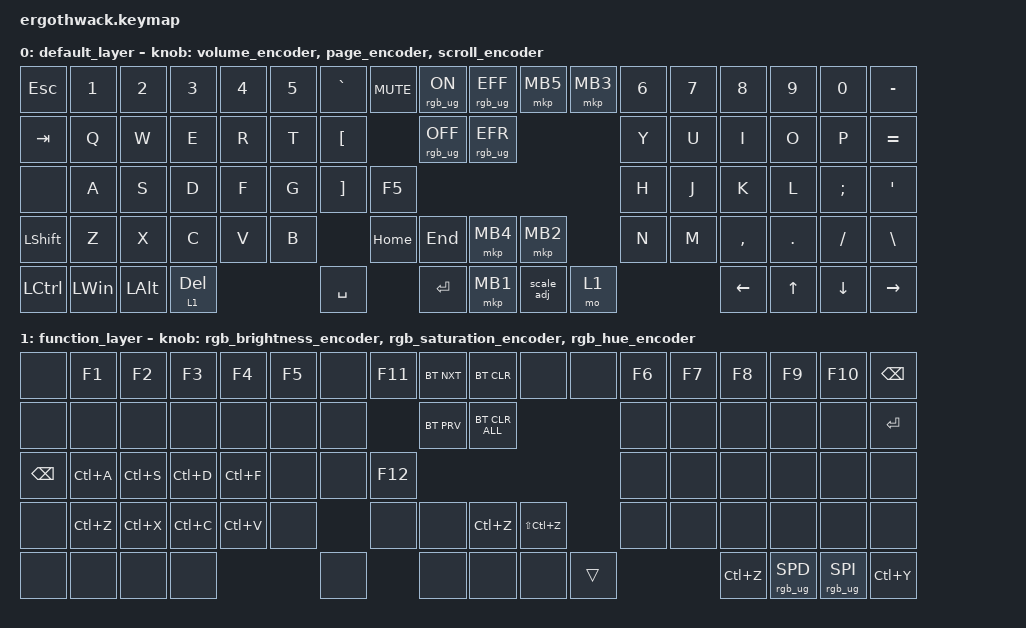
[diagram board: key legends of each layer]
#include <behaviors.dtsi>
#include <dt-bindings/zmk/keys.h>
#include <dt-bindings/zmk/mouse.h>
#include <dt-bindings/zmk/rgb.h>
#include <behaviors/mouse_keys.dtsi>
#include <dt-bindings/zmk/bt.h>
#include <dt-bindings/zmk/outputs.h>
#include <dt-bindings/zmk/ext_power.h>

#define ZMK_MOUSE_DEFAULT_SCRL_VAL 50 // 10

&msc {
    acceleration-exponent = <0>;      // 0
    time-to-max-speed-ms = <0>;       // 300
    delay-ms = <0>;                   // 0
};

&led_strip {
    chain-length = <42>;
};

/ {
    behaviors {
        rgb_brightness_encoder: rgb_brightness_encoder {
            compatible = "zmk,behavior-sensor-rotate";
            #sensor-binding-cells = <0>;
            bindings = <&rgb_ug RGB_BRD>, <&rgb_ug RGB_BRI>;
        };
        rgb_hue_encoder: rgb_hue_encoder {
            compatible = "zmk,behavior-sensor-rotate";
            #sensor-binding-cells = <0>;
            bindings = <&rgb_ug RGB_HUD>, <&rgb_ug RGB_HUI>;
        };
        rgb_saturation_encoder: rgb_saturation_encoder {
            compatible = "zmk,behavior-sensor-rotate";
            #sensor-binding-cells = <0>;
            bindings = <&rgb_ug RGB_SAD>, <&rgb_ug RGB_SAI>;
        };
        page_encoder: page_encoder {
            compatible = "zmk,behavior-sensor-rotate";
            #sensor-binding-cells = <0>;
            bindings = <&kp PG_UP>, <&kp PG_DN>;
        };
        volume_encoder: volume_encoder {
            compatible = "zmk,behavior-sensor-rotate";
            #sensor-binding-cells = <0>;
            bindings = <&kp C_VOL_DN>, <&kp C_VOL_UP>;
        };
        scroll_encoder: scroll_encoder {
            compatible = "zmk,behavior-sensor-rotate";
            #sensor-binding-cells = <0>;
            bindings = <&msc SCRL_UP>, <&msc SCRL_DOWN>;
            tap-ms = <50>;
        };
        scale_adj: scale_adj {
            compatible = "zmk,behavior-scale-adjuster";
            #binding-cells = <0>;
            temp_multiplier = <3>; /* Temporary scale multiplier */
            temp_divisor = <1>; /* Temporary scale divisor */
        };
    };
    
    keymap {
        compatible = "zmk,keymap";

        default_layer {
//|------SW0-------|------SW1-------|------SW2-------|------SW3-------|------SW4-------|------SW5-------|------SW6-------|((((((RE7)))))))|......TS15......|<>|......TS8.......|((((((RE0)))))))|------SW1-------|------SW2-------|------SW3-------|------SW4-------|------SW5-------|------SW6-------|------SW7-------|
//|------SW8-------|------SW9-------|------SW10------|------SW11------|------SW12------|------SW13------|------SW14------|                |......TS23......|<>|......TS15......|                                 |------SW9-------|------SW10------|------SW11------|------SW12------|------SW13------|------SW14------|
//|------SW16------|------SW17------|------SW18------|------SW19------|------SW20------|------SW21------|------SW22------|((((((RE31))))))|                 <>                                                   |------SW16------|------SW17------|------SW18------|------SW19------|------SW20------|------SW21------|
//|------SW24------|------SW25------|------SW26------|------SW27------|------SW28------|------SW29------|                |~~~~~~TH30~~~~~~|~~~~~~TH38~~~~~~|<>|~~~~~~TH22~~~~~~|~~~~~~TH23~~~~~~|                |------SW24------|------SW25------|------SW26------|------SW27------|------SW28------|------SW29------|
//|------SW32------|------SW33------|------SW34------|------SW35------|                                 |~~~~~~~~~~~~~~TH36~~~~~~~~~~~~~~~|~~~~~~TH37~~~~~~|<>|~~~~~~TH30~~~~~~|~~~~~~TH31~~~~~~|~~~~~~TH32~~~~~~|                                 |------SW33------|------SW34------|------SW35------|------SW36------|
            bindings = <
  &kp ESC          &kp N1           &kp N2           &kp N3           &kp N4           &kp N5           &kp GRAVE        &kp C_MUTE       &rgb_ug RGB_ON      &rgb_ug RGB_EFF  &mkp MB5         &mkp MB3         &kp N6           &kp N7           &kp N8           &kp N9           &kp N0           &kp MINUS
  &kp TAB          &kp Q            &kp W            &kp E            &kp R            &kp T            &kp LBKT                          &rgb_ug RGB_OFF     &rgb_ug RGB_EFR                                    &kp Y            &kp U            &kp I            &kp O            &kp P            &kp EQUAL
  &none            &kp A            &kp S            &kp D            &kp F            &kp G            &kp RBKT         &kp F5                                                                                  &kp H            &kp J            &kp K            &kp L            &kp SEMI         &kp APOS
  &kp LSHFT        &kp Z            &kp X            &kp C            &kp V            &kp B                             &kp HOME         &kp END             &mkp MB4         &mkp MB2                          &kp N            &kp M            &kp COMMA        &kp DOT          &kp FSLH         &kp BSLH
  &kp LCTRL        &kp LWIN         &kp LALT         &lt 1 DEL                                            &kp SPACE                         &kp RET             &mkp MB1         &scale_adj       &mo 1                                              &kp LEFT         &kp UP           &kp DOWN         &kp RIGHT
            >;

            sensor-bindings = <&volume_encoder &page_encoder &scroll_encoder>;
        };
        
        function_layer {
//|------SW0-------|------SW1-------|------SW2-------|------SW3-------|------SW4-------|------SW5-------|------SW6-------|((((((RE7)))))))|......TS15......|<>|......TS8.......|((((((RE0)))))))|------SW1-------|------SW2-------|------SW3-------|------SW4-------|------SW5-------|------SW6-------|------SW7-------|
//|------SW8-------|------SW9-------|------SW10------|------SW11------|------SW12------|------SW13------|------SW14------|                |......TS23......|<>|......TS15......|                                 |------SW9-------|------SW10------|------SW11------|------SW12------|------SW13------|------SW14------|
//|------SW16------|------SW17------|------SW18------|------SW19------|------SW20------|------SW21------|------SW22------|((((((RE31))))))|                 <>                                                   |------SW16------|------SW17------|------SW18------|------SW19------|------SW20------|------SW21------|
//|------SW24------|------SW25------|------SW26------|------SW27------|------SW28------|------SW29------|                |~~~~~~TH30~~~~~~|~~~~~~TH38~~~~~~|<>|~~~~~~TH22~~~~~~|~~~~~~TH23~~~~~~|                |------SW24------|------SW25------|------SW26------|------SW27------|------SW28------|------SW29------|
//|------SW32------|------SW33------|------SW34------|------SW35------|                                 |~~~~~~~~~~~~~~TH36~~~~~~~~~~~~~~~|~~~~~~TH37~~~~~~|<>|~~~~~~TH30~~~~~~|~~~~~~TH31~~~~~~|~~~~~~TH32~~~~~~|                                 |------SW33------|------SW34------|------SW35------|------SW36------|
            bindings = <
  &none            &kp F1           &kp F2           &kp F3           &kp F4           &kp F5           &none            &kp F11          &bt BT_NXT          &bt BT_CLR       &none            &none            &kp F6           &kp F7           &kp F8           &kp F9           &kp F10          &kp BSPC
  &none            &none            &none            &none            &none            &none            &none                             &bt BT_PRV          &bt BT_CLR_ALL                                     &none            &none            &none            &none            &none            &kp RET
  &kp BSPC         &kp LC(A)        &kp LC(S)        &kp LC(D)        &kp LC(F)        &none            &none            &kp F12                                                                                 &none            &none            &none            &none            &none            &none
  &none            &kp LC(Z)        &kp LC(X)        &kp LC(C)        &kp LC(V)        &none                             &none            &none               &kp LC(Z)        &kp LS(LC(Z))                     &none            &none            &none            &none            &none            &none
  &none            &none            &none            &none                                              &none                             &none               &none            &none            &trans                                             &kp LC(Z)        &rgb_ug RGB_SPD  &rgb_ug RGB_SPI  &kp LC(Y)
            >;

            sensor-bindings = <&rgb_brightness_encoder &rgb_saturation_encoder &rgb_hue_encoder>;
        };
    };
};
